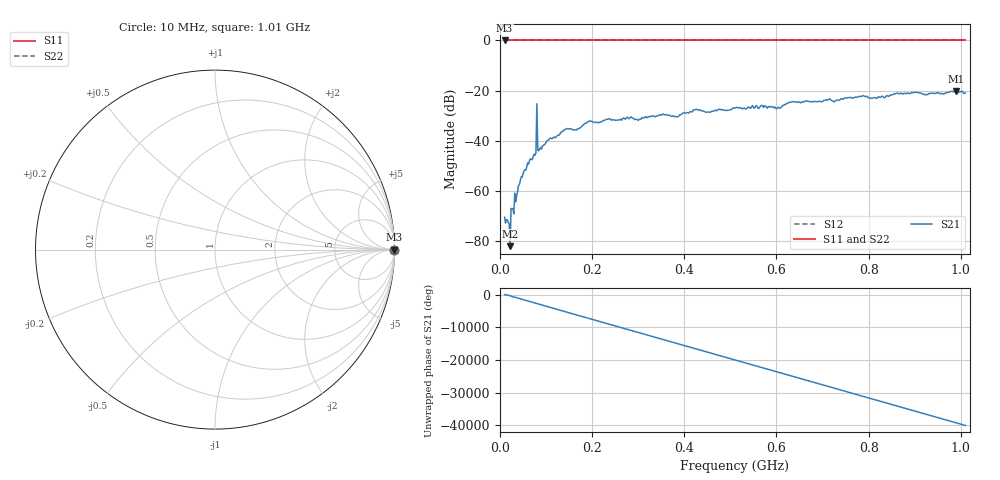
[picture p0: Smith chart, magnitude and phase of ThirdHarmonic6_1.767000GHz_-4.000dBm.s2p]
! 8/16/2025 9:20:12 PM
! C:\ANRITSUVNA\TEMP\TEMP.S2P
! CHANNEL.1
! TR.MEASUREMENT
! RAW.DATA
! RF.CORRECTION.OFF
! AVERAGING.OFF
! IF.BANDWIDTH: 5KHZ
! SWEEPTYPE:  FREQ.SWEEP(Linear)
! Reference Plane Port Info
! PORT:  PORT1  PORT2
! DISTANCE:  0  m  0  m
! TIME:  0  s  0  s
! PHASE.OFFSET:  0  deg.  0  deg.
! LOSS:  0  dB  0  dB
! REF.LOSS:  0  dB  0  dB
! REF.FREQ:  0  Hz  0  Hz
! Power Info
! POWER:  -20  dBm  -20  dBm
! EFF.POWER:  -20  dBm  -20  dBm
! SOURCE.ATTEN:  0  dB  0  dB
! TEST.ATTEN:  0  dB  0  dB
# GHZ S RI R 50.0
! FREQ.GHZ  S11RE  S11IM  S21RE  S21IM  S12RE  S12IM  S22RE  S22IM
!; PortSelection: Port_12
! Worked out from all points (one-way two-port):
!   501 points, 10 MHz to 1.01 GHz, reference 50 ohm
!   highest |S21| = -20.21 dB at 990 MHz (marker M1); lowest = -82.1 dB at 22 MHz (marker M2)
!   lowest |S11| = 0.0 dB at 10 MHz (marker M3)
!   |S11| at or under -10 dB: nowhere
!   |S22| runs from 0.0 to 0.0 dB; largest |S21 - S12| = 1.1
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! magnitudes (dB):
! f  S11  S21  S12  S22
! 10 MHz  0.0  -70.5  0.0  0.0
! 18 MHz  0.0  -72.5  0.0  0.0
! 22 MHz  0.0  -82.1  0.0  0.0
! 26 MHz  0.0  -67.1  0.0  0.0
! 28 MHz  0.0  -67.3  0.0  0.0
! 44 MHz  0.0  -55.9  0.0  0.0
! 74 MHz  0.0  -45.4  0.0  0.0
! 76 MHz  0.0  -45.9  0.0  0.0
! 78 MHz  0.0  -44.8  0.0  0.0
! 84 MHz  0.0  -44.0  0.0  0.0
! 86 MHz  0.0  -43.3  0.0  0.0
! 140 MHz  0.0  -35.6  0.0  0.0
! 178 MHz  0.0  -34.2  0.0  0.0
! 194 MHz  0.0  -32.1  0.0  0.0
! 344 MHz  0.0  -29.9  0.0  0.0
! 510 MHz  0.0  -27.0  0.0  0.0
! 604 MHz  0.0  -26.6  0.0  0.0
! 632 MHz  0.0  -24.5  0.0  0.0
! 678 MHz  0.0  -24.4  0.0  0.0
! 844 MHz  0.0  -22.3  0.0  0.0
! 990 MHz  0.0  -20.2  0.0  0.0
! 1.01 GHz  0.0  -21.0  0.0  0.0
